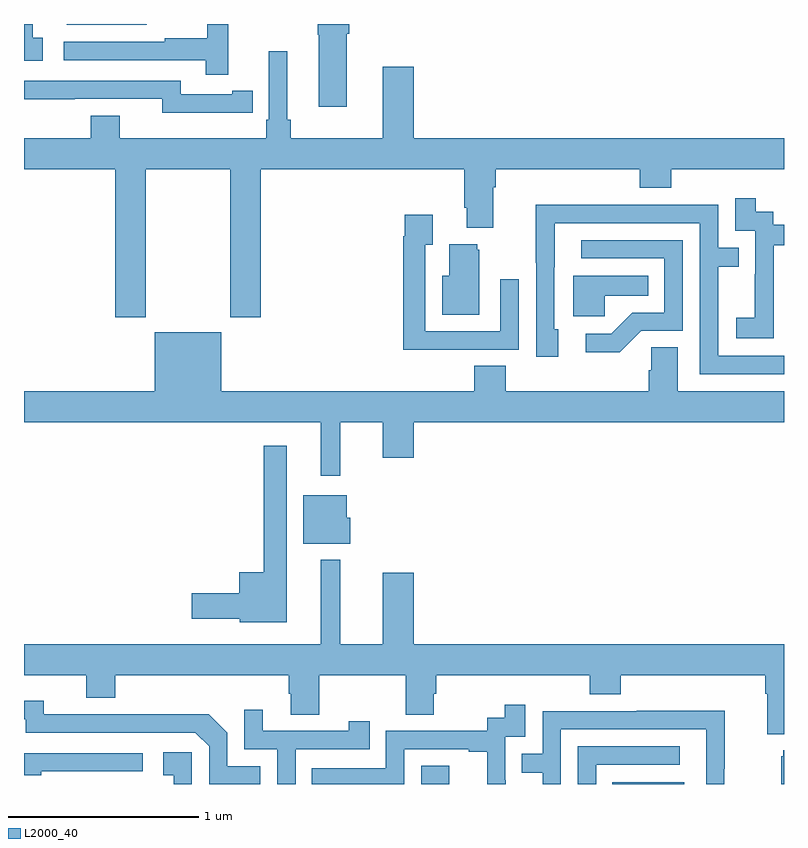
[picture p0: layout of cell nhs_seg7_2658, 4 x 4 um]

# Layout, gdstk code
import gdstk
lib = gdstk.Library(unit=1e-6, precision=1e-09)
def R(c, l, rs):  # rectangles x0, y0, x1, y1
    for r in rs: c.add(gdstk.rectangle(r[:2], r[2:], *l))
def P(c, l, *ps):  # polygons
    for p in ps: c.add(gdstk.Polygon(p, *l))
L2000_40 = (2000, 40)

nhs_seg7_2658 = lib.new_cell('nhs_seg7_2658')
R(nhs_seg7_2658, L2000_40, [(285.09,1044,285.238,1044.097), (286.096,1044,286.474,1044.01), (283.226,1047.995,283.645,1048)])
P(nhs_seg7_2658, L2000_40, [(284.075,1048),(283.965,1048),(283.965,1047.926),(283.741,1047.926),(283.741,1047.906),(283.209,1047.906),(283.209,1047.81),(283.957,1047.81),(283.957,1047.732),(284.075,1047.732)],
  [(283.099,1047.927),(283.046,1047.927),(283.046,1048),(283,1048),(283,1047.807),(283.099,1047.807)],
  [(284.698,1047.949),(284.711,1047.949),(284.711,1048),(284.545,1048),(284.545,1047.943),(284.552,1047.943),(284.552,1047.564),(284.698,1047.564)],
  [(283.641,1047.236),(284.086,1047.236),(284.086,1046.457),(284.246,1046.457),(284.246,1047.236),(285.317,1047.236),(285.317,1047.034),(285.329,1047.034),(285.329,1046.927),(285.469,1046.927),(285.469,1047.14),(285.482,1047.14),(285.482,1047.236),(286.241,1047.236),(286.241,1047.137),(286.406,1047.137),(286.406,1047.236),(287,1047.236),(287,1047.4),(285.052,1047.4),(285.052,1047.775),(284.888,1047.775),(284.888,1047.4),(284.405,1047.4),(284.405,1047.496),(284.386,1047.496),(284.386,1047.856),(284.289,1047.856),(284.289,1047.496),(284.276,1047.496),(284.276,1047.4),(283.504,1047.4),(283.504,1047.517),(283.352,1047.517),(283.352,1047.4),(283,1047.4),(283,1047.236),(283.481,1047.236),(283.481,1046.457),(283.641,1046.457)],
  [(284.096,1047.534),(284.204,1047.534),(284.204,1047.65),(284.096,1047.65),(284.096,1047.63),(283.824,1047.63),(283.824,1047.702),(283,1047.702),(283,1047.605),(283.268,1047.605),(283.268,1047.606),(283.728,1047.606),(283.728,1047.533),(284.096,1047.533)],
  [(286.947,1046.551),(286.946,1046.551),(286.946,1046.835),(287,1046.835),(287,1046.943),(286.944,1046.943),(286.944,1047.012),(286.852,1047.012),(286.852,1047.082),(286.743,1047.082),(286.743,1046.913),(286.848,1046.913),(286.848,1046.684),(286.847,1046.684),(286.847,1046.455),(286.749,1046.455),(286.749,1046.345),(286.947,1046.345)],
  [(287,1046.253),(286.653,1046.253),(286.653,1046.722),(286.763,1046.722),(286.763,1046.823),(286.653,1046.823),(286.653,1047.048),(286.157,1047.048),(286.157,1047.05),(285.694,1047.05),(285.694,1046.743),(285.696,1046.743),(285.696,1046.25),(285.811,1046.25),(285.811,1046.394),(285.792,1046.394),(285.792,1046.719),(285.793,1046.719),(285.793,1046.952),(286.557,1046.952),(286.557,1046.157),(287,1046.157)],
  [(285.287,1046.286),(285.603,1046.286),(285.603,1046.656),(285.507,1046.656),(285.507,1046.382),(285.111,1046.382),(285.111,1046.839),(285.151,1046.839),(285.151,1046.995),(285.003,1046.995),(285.003,1046.882),(284.995,1046.882),(284.995,1046.285),(285.287,1046.285)],
  [(286.248,1046.385),(286.467,1046.385),(286.467,1046.862),(285.933,1046.862),(285.933,1046.766),(286.371,1046.766),(286.371,1046.481),(286.202,1046.481),(286.091,1046.37),(285.957,1046.37),(285.957,1046.273),(286.135,1046.273)],
  [(285.397,1046.811),(285.386,1046.811),(285.386,1046.842),(285.239,1046.842),(285.239,1046.674),(285.2,1046.674),(285.2,1046.471),(285.397,1046.471)],
  [(286.056,1046.57),(286.286,1046.57),(286.286,1046.674),(285.89,1046.674),(285.89,1046.462),(286.056,1046.462)],
  [(284.665,1045.904),(284.888,1045.904),(284.888,1045.716),(285.052,1045.716),(285.052,1045.904),(287,1045.904),(287,1046.068),(286.441,1046.068),(286.441,1046.3),(286.302,1046.3),(286.302,1046.177),(286.289,1046.177),(286.289,1046.068),(285.536,1046.068),(285.536,1046.201),(285.371,1046.201),(285.371,1046.068),(284.038,1046.068),(284.038,1046.377),(283.688,1046.377),(283.688,1046.068),(283,1046.068),(283,1045.904),(284.561,1045.904),(284.561,1045.623),(284.665,1045.623)],
  [(284.383,1045.78),(284.262,1045.78),(284.262,1045.114),(284.132,1045.114),(284.132,1045.004),(283.884,1045.004),(283.884,1044.869),(284.136,1044.869),(284.136,1044.851),(284.383,1044.851)],
  [(284.716,1045.401),(284.698,1045.401),(284.698,1045.519),(284.471,1045.519),(284.471,1045.265),(284.716,1045.265)],
  [(287,1044.736),(285.052,1044.736),(285.052,1045.111),(284.888,1045.111),(284.888,1044.736),(284.665,1044.736),(284.665,1045.18),(284.561,1045.18),(284.561,1044.736),(283,1044.736),(283,1044.572),(283.328,1044.572),(283.328,1044.455),(283.481,1044.455),(283.481,1044.572),(284.393,1044.572),(284.393,1044.474),(284.405,1044.474),(284.405,1044.364),(284.553,1044.364),(284.553,1044.572),(285.01,1044.572),(285.01,1044.364),(285.157,1044.364),(285.157,1044.474),(285.17,1044.474),(285.17,1044.572),(285.977,1044.572),(285.977,1044.473),(286.142,1044.473),(286.142,1044.572),(286.901,1044.572),(286.901,1044.476),(286.913,1044.476),(286.913,1044.263),(287,1044.263)],
  [(284.244,1044.093),(284.07,1044.093),(284.07,1044.27),(283.972,1044.368),(283.564,1044.368),(283.564,1044.366),(283.104,1044.366),(283.104,1044.439),(283,1044.439),(283,1044.342),(283.008,1044.342),(283.008,1044.27),(283.902,1044.27),(283.974,1044.198),(283.974,1044),(284.244,1044)],
  [(285,1044.183),(285.341,1044.183),(285.341,1044.171),(285.437,1044.171),(285.437,1044),(285.536,1044),(285.536,1044.02),(285.534,1044.02),(285.534,1044.249),(285.639,1044.249),(285.639,1044.418),(285.531,1044.418),(285.531,1044.348),(285.438,1044.348),(285.438,1044.279),(284.904,1044.279),(284.904,1044.084),(284.515,1044.084),(284.515,1044),(285,1044)],
  [(284.43,1044.183),(284.819,1044.183),(284.819,1044.331),(284.708,1044.331),(284.708,1044.279),(284.257,1044.279),(284.257,1044.391),(284.16,1044.391),(284.16,1044.183),(284.334,1044.183),(284.334,1044),(284.43,1044)],
  [(285.825,1044.288),(286.59,1044.288),(286.59,1044),(286.686,1044),(286.686,1044.079),(286.689,1044.079),(286.689,1044.386),(286.225,1044.386),(286.225,1044.384),(285.729,1044.384),(285.729,1044.159),(285.619,1044.159),(285.619,1044.058),(285.729,1044.058),(285.729,1044),(285.825,1044)],
  [(286.011,1044.102),(286.45,1044.102),(286.45,1044.198),(285.915,1044.198),(285.915,1044),(286.011,1044)],
  [(287,1044.178),(286.997,1044.178),(286.997,1044.147),(286.985,1044.147),(286.985,1044),(287,1044)],
  [(283.884,1044.166),(283.734,1044.166),(283.734,1044.045),(283.787,1044.045),(283.787,1044),(283.884,1044)],
  [(283.091,1044.066),(283.624,1044.066),(283.624,1044.162),(283,1044.162),(283,1044.046),(283.091,1044.046)])

lib.write_gds('nhs_seg7_2658.gds')
